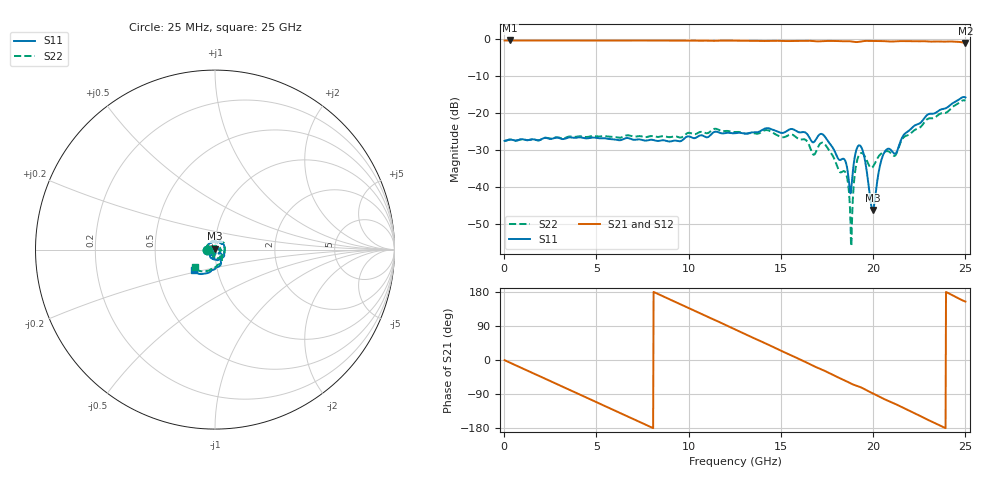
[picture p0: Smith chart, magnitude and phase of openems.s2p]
! R_s4_rect_n4: Finite board 24 × 16 mm, via L1 → L4 through the L2/L3 cavity, four GND vias at 1 mm
! stackup: 4-layer 1.6 mm FR-4
! ports: 1 L1, 2 L4
! openEMS 0.37.0, staircase, fine mesh (dfine 0.035 mm), 1297120 cells
# Hz S RI R 50
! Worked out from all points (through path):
!   1000 points, 25 MHz to 25 GHz, reference 50 ohm
!   highest |S21| = -0.37 dB at 325 MHz (marker M1); lowest = -1.0 dB at 25 GHz (marker M2)
!   group delay of S21, straight-line fit = 62.6 ps
!   lowest |S11| = -46.2 dB at 19.98 GHz (marker M3), VSWR 1.01, Z = 49.8 + j0.46 ohm
!   |S11| at or under -10 dB: start of sweep to end of sweep
!   |S22| runs from -55.9 to -16.5 dB; largest |S21 - S12| = 0.0052
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2.5e7  -0.0422 -9.22e-05  0.956 -0.00906  0.9561 -0.0091  -0.0421 -6.97e-05
3.25e8  -0.044 0.00183  0.9502 -0.1206  0.95 -0.1206  -0.0438 0.00202
2.425e9  -0.0424 0.0158  0.563 -0.7736  0.563 -0.7736  -0.0422 0.0172
4.2e9  -0.0359 0.0302  -0.0566 -0.9552  -0.0568 -0.9552  -0.0359 0.0328
6.45e9  -0.0189 0.0401  -0.7661 -0.567  -0.7662 -0.567  -0.0187 0.0441
8.35e9  0.00298 0.0419  -0.9497 0.1  -0.9498 0.1  0.00309 0.0476
1.0725e10  0.0355 0.0352  -0.4898 0.815  -0.4901 0.8152  0.0348 0.0436
1.2525e10  0.0536 0.00132  0.1573 0.9381  0.1571 0.9389  0.0546 0.0105
1.48e10  0.0306 -0.0476  0.8276 0.4625  0.8288 0.4634  0.0333 -0.0377
1.6675e10  -0.0104 -0.04  0.9176 -0.2231  0.9192 -0.2238  -0.00919 -0.0284
1.7325e10  -0.026 -0.0428  0.8352 -0.434  0.8367 -0.4352  -0.02 -0.0337
1.8475e10  -0.0181 -0.0143  0.5476 -0.759  0.5483 -0.7607  -0.0156 -0.00425
1.88e10  -0.00166 -0.0086  0.4334 -0.8225  0.4341 -0.8242  -0.00164 -0.000204
1.89e10  0.00299 -0.0159  0.3977 -0.8311  0.3984 -0.833  0.0015 -0.0068
1.9075e10  -0.00379 -0.0307  0.3483 -0.8422  0.3487 -0.8442  -0.00665 -0.0186
1.93e10  -0.0262 -0.0251  0.2943 -0.8752  0.2944 -0.8772  -0.0269 -0.00949
1.9975e10  -0.00165 0.00461  0.0345 -0.9419  0.0344 -0.9437  0.000679 0.0187
2.045e10  0.0234 0.000361  -0.156 -0.9288  -0.1563 -0.9308  0.0246 0.0145
2.085e10  0.0254 -0.0212  -0.2963 -0.8793  -0.2969 -0.8815  0.03 -0.00381
2.1225e10  0.0219 -0.0184  -0.416 -0.8345  -0.417 -0.8366  0.0268 -0.00484
2.2925e10  0.0272 -0.0904  -0.8565 -0.3649  -0.86 -0.3665  0.0325 -0.0758
2.5e10  -0.1157 -0.1145  -0.8003 0.3859  -0.8033 0.3899  -0.1089 -0.0988
